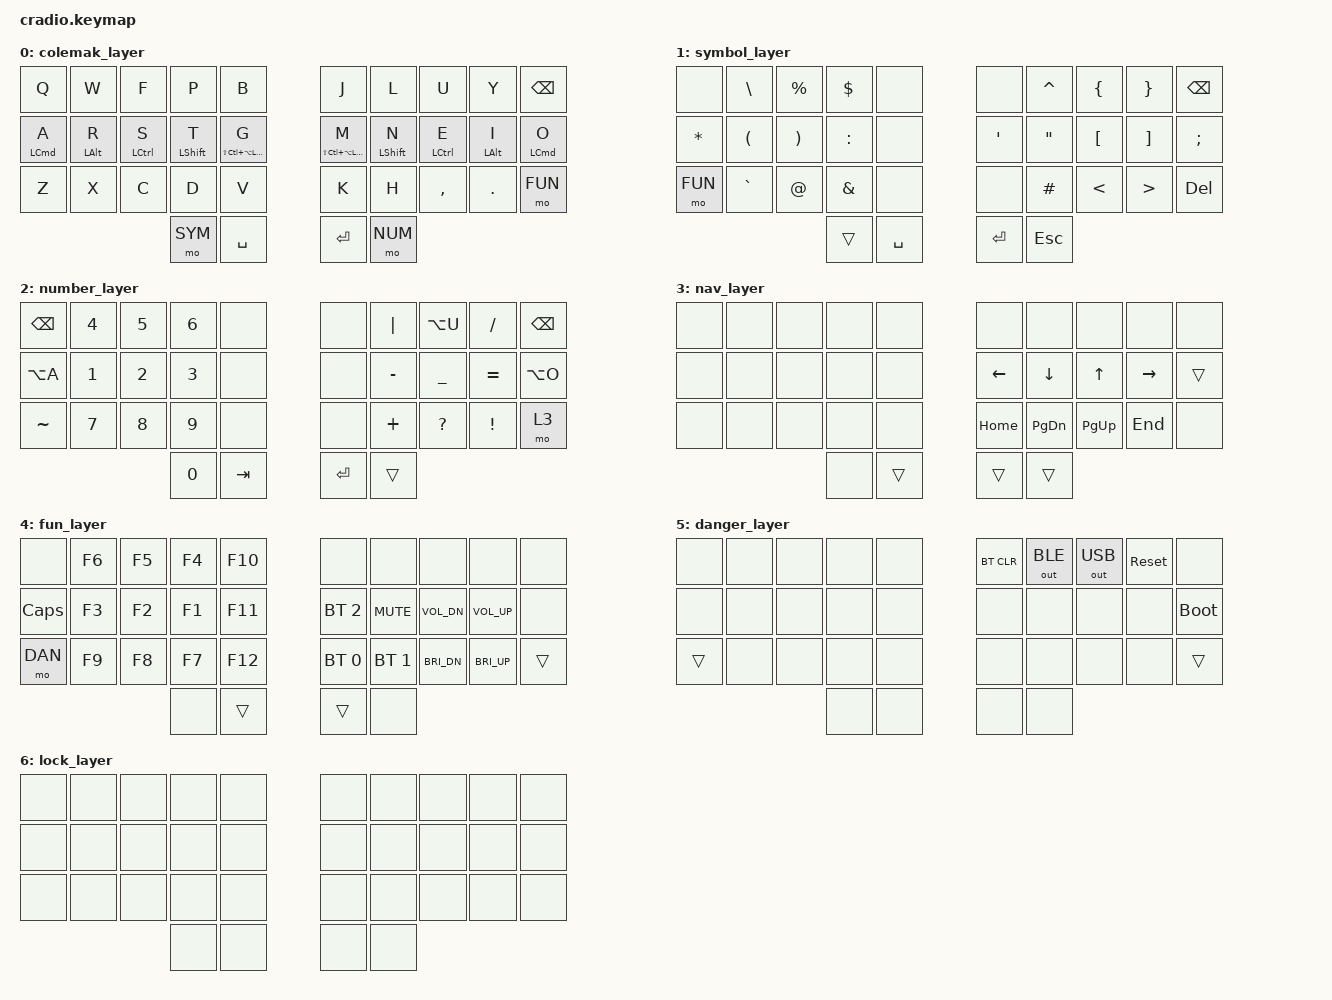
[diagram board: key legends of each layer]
/*
 * Copyright (c) 2020 The ZMK Contributors
 *
 * SSPDX-License-Identifier: MIT
 */

#include <behaviors.dtsi>
#include <dt-bindings/zmk/bt.h>
#include <dt-bindings/zmk/keys.h>
#include <dt-bindings/zmk/outputs.h>

#define CMK 0
#define SYM 1
#define NUM 2
#define NAV 3
#define FUN 4
#define DAN 5
#define LCK 6

&mt {
    flavor = "tap-preferred";
    tapping_term_ms = <285>;
};

&caps_word { continue-list = <UNDERSCORE MINUS BACKSPACE>; };

/ {
    combos {
        #include "combos.dtsi"
    };

    behaviors {
        hm: homerow_mods {
            compatible = "zmk,behavior-hold-tap";
            label = "HOMEROW_MODS";
            #binding-cells = <2>;
            tapping-term-ms = <200>;
            quick_tap_ms = <0>;
            flavor = "tap-preferred";
            bindings = <&kp>, <&kp>;
        };

        td: tapdance {
            compatible = "zmk,behavior-hold-tap";
            label = "TAPDANCE";
            #binding-cells = <2>;
            tapping-term-ms = <150>;
            quick_tap_ms = <0>;
            flavor = "tap-preferred";
            bindings = <&kp>, <&kp>;
        };

        skq: sticky_key_quick_release {
            compatible = "zmk,behavior-sticky-key";
            label = "STICKY_KEY_QUICK_RELEASE";
            #binding-cells = <1>;
            bindings = <&kp>;
            release-after-ms = <1000>;
            quick-release;
        };
    };
};

/*           34 Keys
╭──────────────╮ ╭──────────────╮
│ 0  1  2  3  4│ │ 5  6  7  8  9│
│10 11 12 13 14│ │15 16 17 18 19│
│20 21 22 23 24│ │25 26 27 28 29│
╰────────╮30 31│ │32 33╭────────╯
         ╰─────╯ ╰─────╯         */

/ {
    keymap {
        compatible = "zmk,keymap";

        colemak_layer {
            // -----------------------------------------------------------------
            // |  Q  |  W  |  F  |  P  |  B  | |  J  |  L  |  U  |  Y  |     |
            // |  A  |  R  |  S  |  T  |  G  | |  M  |  N  |  E  |  I  |  O  |
            // |  Z  |  X  |  C  |  D  |  V  | |  K  |  H  |  ,  |  .  |-FUN-|
            //                   |-SYM-| SPC | | RET |-NUM-|

            bindings = <
&kp Q               &kp W           &kp F               &kp P             &kp B                     &kp J                   &kp L             &kp U               &kp Y           &kp BACKSPACE
&hm LEFT_COMMAND A  &hm LEFT_ALT R  &hm LEFT_CONTROL S  &hm LEFT_SHIFT T  &hm LS(LC(LA(LGUI))) G    &hm LS(LC(LA(LGUI))) M  &hm LEFT_SHIFT N  &hm LEFT_CONTROL E  &hm LEFT_ALT I  &hm LEFT_COMMAND O
&kp Z               &kp X           &kp C               &kp D             &kp V                     &kp K                   &kp H             &kp COMMA           &kp DOT         &mo FUN
                                                        &mo SYM           &kp SPACE                 &kp RET                 &mo NUM
            >;
        };

        symbol_layer {
            // -----------------------------------------------------------------
            // |     |  \  |  %  |  $  |     | |     |  ^  |  {  |  }  |     |
            // |  *  |  (  |  )  |  :  |     | |     |  "  |  [  |  ]  |  ;  |
            // |     |  `  |  @  |  &  |     | |     |  #  |  <  |  >  |-FUN-|
            //                   |_SYM_| SPC | | RET | ESC |

            bindings = <
&none     &kp BSLH   &kp PRCNT  &kp DLLR   &none        &none             &kp CARET  &kp LBRC  &kp RBRC  &kp BACKSPACE
&kp STAR  &kp LPAR   &kp RPAR   &kp COLON  &none        &kp SINGLE_QUOTE  &kp DQT    &kp LBKT  &kp RBKT  &kp SEMI
&mo FUN   &kp GRAVE  &kp AT     &kp AMPS   &none        &none             &kp HASH   &kp LT    &kp GT    &kp DEL
                                &trans     &kp SPACE    &kp RET           &kp ESC
            >;
        };

        number_layer {
            // -----------------------------------------------------------------
            // |     |  4  |  5  |  6  |     | |     |  |  |  -  |  /  |     |
            // |  .  |  1  |  2  |  3  |     | |     |  '  |  _  |  =  |-NAV-|
            // |  ~  |  7  |  8  |  9  |     | |     |  +  |  ?  |  !  |     |
            //                   |  0  | SPC | | RET |_NUM_|

            bindings = <
&kp BSPC   &kp N4  &kp N5  &kp N6  &none      &none    &kp PIPE   &kp LA(U)  &kp FSLH   &kp BACKSPACE
&kp LA(A)  &kp N1  &kp N2  &kp N3  &none      &none    &kp MINUS  &kp UNDER  &kp EQUAL  &kp LA(O)
&kp TILDE  &kp N7  &kp N8  &kp N9  &none      &none    &kp PLUS   &kp QMARK  &kp EXCL   &mo 3
                           &kp N0  &kp TAB    &kp RET  &trans
            >;
        };

        nav_layer {
            // -----------------------------------------------------------------
            // |     |     |     |     |     | |     |     |     |     |     |
            // |     |     |     |     |     | | LFT | DWN | U P |RIGHT|_NAV_|
            // |     |     |     |     |     | | HOM |PG_DN|PG_UP| END |     |
            //                   |     | SPC | | RET |_NUM_|

            bindings = <
&none  &none  &none  &none  &none     &none     &none      &none      &none      &none
&none  &none  &none  &none  &none     &kp LEFT  &kp DOWN   &kp UP     &kp RIGHT  &trans
&none  &none  &none  &none  &none     &kp HOME  &kp PG_DN  &kp PG_UP  &kp END    &none
                     &none  &trans    &trans    &trans
            >;
        };

        fun_layer {
            // -----------------------------------------------------------------
            // |     | F 6 | F 5 | F 4 | F10 | | <!> | <!> | <!> | <!> |     |
            // |CAPSL| F 3 | F 2 | F 1 | F11 | | BT2 |VMUTE|VOLDN|VOLUP| <!> |
            // |-!!!-| F 9 | F 8 | F 7 | F12 | | BT0 | BT1 |BRIDN|BRIUP|_FUN_|
            //                   |     | SPC | | RET |     |

            bindings = <
&none     &kp F6  &kp F5  &kp F4  &kp F10    &none         &none         &none         &none         &none
&kp CAPS  &kp F3  &kp F2  &kp F1  &kp F11    &bt BT_SEL 2  &kp K_MUTE    &kp C_VOL_DN  &kp C_VOL_UP  &none
&mo DAN   &kp F9  &kp F8  &kp F7  &kp F12    &bt BT_SEL 0  &bt BT_SEL 1  &kp C_BRI_DN  &kp C_BRI_UP  &trans
                          &none   &trans     &trans        &none
            >;
        };

        danger_layer {
            // -----------------------------------------------------------------
            // |     |     |     |     |     | |BTCLR| BLE | USB |RESET|     |
            // |     |     |     |     |     | |     |     |     |     |BOOTL|
            // |_!!!_|     |     |     |     | |     |     |     |     |_FUN_|
            //                   |     |     | |     |     |
            // impactful buttons
            // Bluetooth clear, reset, chaning BLE/USB preference, bootloader

            bindings = <
&none   &none  &none  &none  &none    &bt BT_CLR  &out OUT_BLE  &out OUT_USB  &sys_reset  &none
&none   &none  &none  &none  &none    &none       &none         &none         &none       &bootloader
&trans  &none  &none  &none  &none    &none       &none         &none         &none       &trans
                      &none  &none    &none       &none
            >;
        };

        lock_layer {
            // only way out is the lock combo
            // other combos are disabled too

            bindings = <
&none  &none  &none  &none  &none    &none  &none  &none  &none  &none
&none  &none  &none  &none  &none    &none  &none  &none  &none  &none
&none  &none  &none  &none  &none    &none  &none  &none  &none  &none
                     &none  &none    &none  &none
            >;
        };
    };
};
